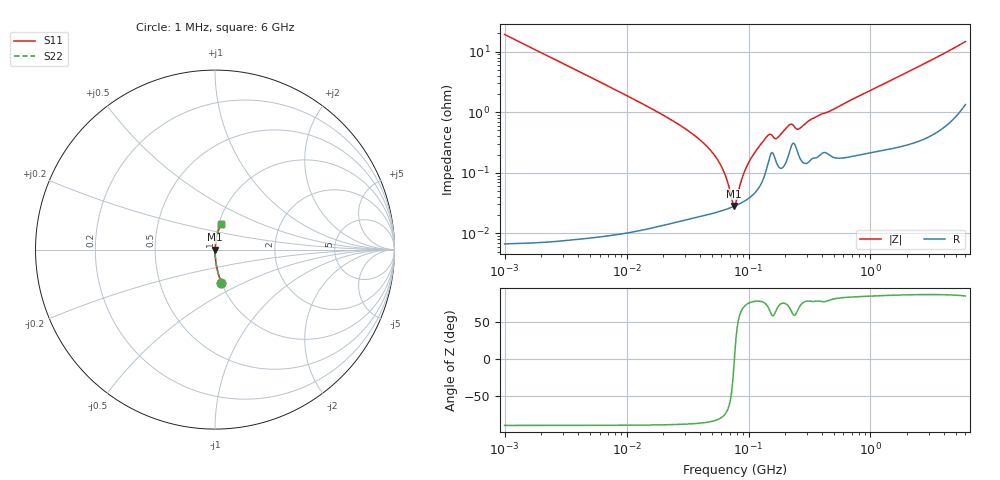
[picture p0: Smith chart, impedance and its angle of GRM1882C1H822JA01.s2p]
!Murata Part Number: GRM1882C1H822JA01
!These Parameters are Measured in Series Mode Connection
!Data Generated on Mar 30, 2021
!  o--ll--o
!Port1  Port2
!  o------o
!Operation Temp=25[degC], DC Bias Voltage=0[V]
!Freq. Start=1000[kHz] Stop=6[GHz] 401[Steps]
# Hz S RI R 50
!Freq.(Hz) S11(Real) S11(Imag) S21(Real) S21(Imag) S12(Real) S12(Imag) S22(Real) S22(Imag)
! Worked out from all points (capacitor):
!   401 points, 1 MHz to 6 GHz, reference 50 ohm
!   read as one part in series: C = 8.26 nF near 1.044 MHz
!   lowest |Z| = 28.4 mohm at 75.79 MHz (marker M1)
!   series resonance near 76.62 MHz, so ESL is about 520 pH
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1000000  0.0359 -0.1858  0.9641 0.1858  0.9641 0.1858  0.0359 -0.1858
4293785  0.00208 -0.0446  0.9979 0.0446  0.9979 0.0446  0.00208 -0.0446
1.843659e7  0.000226 -0.00981  0.9998 0.00981  0.9998 0.00981  0.000226 -0.00981
3.389622e7  0.000195 -0.00455  0.9998 0.00455  0.9998 0.00455  0.000195 -0.00455
5.013812e7  0.000217 -0.0022  0.9998 0.0022  0.9998 0.0022  0.000217 -0.0022
6.23192e7  0.000242 -0.00105  0.9998 0.00105  0.9998 0.00105  0.000242 -0.00105
6.652088e7  0.000253 -0.000718  0.9997 0.000718  0.9997 0.000718  0.000253 -0.000718
7.256705e7  0.000269 -0.000276  0.9997 0.000276  0.9997 0.000276  0.000269 -0.000276
7.57932e7  0.000279 -5.51e-05  0.9997 5.51e-05  0.9997 5.51e-05  0.000279 -5.51e-05
7.745967e7  0.000284 5.58e-05  0.9997 -5.58e-05  0.9997 -5.58e-05  0.000284 5.58e-05
7.916277e7  0.000289 0.000167  0.9997 -0.000167  0.9997 -0.000167  0.000289 0.000167
9.019724e7  0.000331 0.000847  0.9997 -0.000847  0.9997 -0.000847  0.000331 0.000847
9.83954e7  0.00037 0.00132  0.9996 -0.00132  0.9996 -0.00132  0.00037 0.00132
1.121107e8  0.000465 0.00209  0.9995 -0.00209  0.9995 -0.00209  0.000465 0.00209
1.39348e8  0.0011 0.00367  0.9989 -0.00367  0.9989 -0.00367  0.0011 0.00367
1.487431e8  0.00181 0.00393  0.9982 -0.00393  0.9982 -0.00393  0.00181 0.00393
1.694764e8  0.00148 0.00337  0.9985 -0.00337  0.9985 -0.00337  0.00148 0.00337
2.152823e8  0.00214 0.00575  0.9979 -0.00575  0.9979 -0.00575  0.00214 0.00575
2.561955e8  0.00204 0.00484  0.998 -0.00484  0.998 -0.00484  0.00204 0.00484
3.325952e8  0.00177 0.00759  0.9982 -0.00759  0.9982 -0.00759  0.00177 0.00759
1.428092e9  0.0035 0.0324  0.9965 -0.0324  0.9965 -0.0324  0.0035 0.0324
6e9  0.0335 0.1399  0.9665 -0.1399  0.9665 -0.1399  0.0335 0.1399
